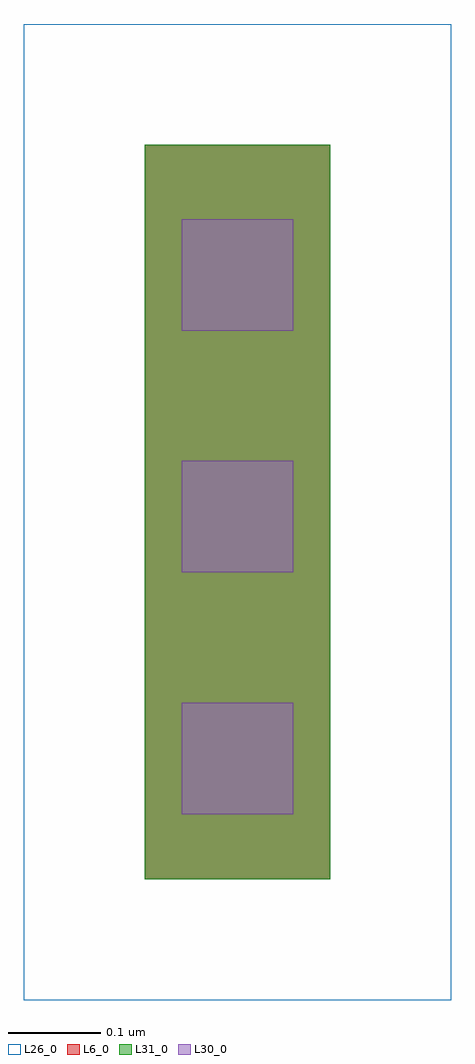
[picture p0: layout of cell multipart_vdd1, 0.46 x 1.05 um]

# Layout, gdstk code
import gdstk
lib = gdstk.Library(unit=1e-6, precision=1e-09)
def R(c, l, rs):  # rectangles x0, y0, x1, y1
    for r in rs: c.add(gdstk.rectangle(r[:2], r[2:], *l))
def A(c, l, x, y, w, h, nx, ny, dx, dy):  # array of equal rectangles
    R(c, l, [(x+i*dx, y+j*dy, x+i*dx+w, y+j*dy+h) for i in range(nx) for j in range(ny)])
L6_0 = (6, 0)
L26_0 = (26, 0)
L30_0 = (30, 0)
L31_0 = (31, 0)

multipart_vdd1 = lib.new_cell('multipart_vdd1')
A(multipart_vdd1, L30_0, 0.17, 0.2, 0.12, 0.12, 1, 3, 0, 0.26)
multipart_vdd1.add(gdstk.FlexPath([(0.23,0.13),(0.23,0.92)], 0.2, ends="flush", simple_path=True, layer=6, datatype=0))  # L6_0
multipart_vdd1.add(gdstk.FlexPath([(0.23,0),(0.23,1.05)], 0.46, ends="flush", simple_path=True, layer=26, datatype=0))  # L26_0
multipart_vdd1.add(gdstk.FlexPath([(0.23,0.13),(0.23,0.92)], 0.2, ends="flush", simple_path=True, layer=31, datatype=0))  # L31_0

lib.write_gds('multipart_vdd1.gds')
